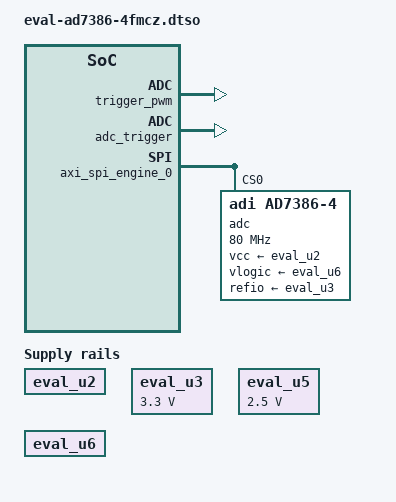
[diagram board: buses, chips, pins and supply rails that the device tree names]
/dts-v1/;
/plugin/;

#include <dt-bindings/gpio/gpio.h>
#include <dt-bindings/interrupt-controller/irq.h>

&{/} {
	eval_u2: eval-board-u2-regulator {
		compatible = "regulator-fixed";
		regulator-name = "EVAL +3.3V supply (U2)";
		regulator-always-on;
	};

	eval_u3: eval-board-u3-regulator {
		compatible = "regulator-fixed";
		regulator-name = "EVAL +3.3V supply (U3)";
		regulator-min-microvolt = <3300000>;
		regulator-max-microvolt = <3300000>;
		regulator-always-on;
	};

	eval_u5: eval-board-u5-regulator {
		compatible = "regulator-fixed";
		regulator-name = "EVAL +2.5V supply (U5)";
		regulator-min-microvolt = <2500000>;
		regulator-max-microvolt = <2500000>;
		regulator-always-on;
	};

	eval_u6: eval-board-u6-regulator {
		compatible = "regulator-fixed";
		regulator-name = "EVAL +2.3V supply (U6)";
		regulator-always-on;
	};

	trigger_pwm: adc-pwm-trigger {
		compatible = "pwm-trigger";
		#trigger-source-cells = <0>;
		pwms = <&adc_trigger 0 10000 0>;
	};
};

&amba {
	#address-cells = <1>;
	#size-cells = <1>;
	interrupt-parent = <&intc>;

	adc_trigger: pwm@44b00000 {
		compatible = "adi,axi-pwmgen-2.00.a";
		reg = <0x44b00000 0x1000>;
		#pwm-cells = <3>;
		clocks = <&clkc 15>, <&spi_clk>;
		clock-names = "axi", "ext";
	};

	spi_clk: clock-controller@44a70000 {
		compatible = "adi,axi-clkgen-2.00.a";
		reg = <0x44a70000 0x1000>;
		#clock-cells = <0>;
		clocks = <&clkc 15>, <&clkc 15>;
		clock-names = "clkin1", "s_axi_aclk";
		clock-output-names = "spi_clk";
		assigned-clocks = <&spi_clk>;
		assigned-clock-rates = <160000000>;
	};

	rx_dma: dma-controller@44a30000 {
		compatible = "adi,axi-dmac-1.00.a";
		reg = <0x44a30000 0x1000>;
		#dma-cells = <1>;
		interrupts = <0 57 IRQ_TYPE_LEVEL_HIGH>;
		clocks = <&clkc 15>;
	};

	axi_spi_engine_0: spi@44a00000 {
		compatible = "adi,axi-spi-engine-1.00.a";
		reg = <0x44a00000 0x1000>;
		interrupts = <0 56 IRQ_TYPE_LEVEL_HIGH>;
		clocks = <&clkc 15>, <&spi_clk>;
		clock-names = "s_axi_aclk", "spi_clk";

		dmas = <&rx_dma 0>;
		dma-names = "offload0-rx";
		trigger-sources = <&trigger_pwm>;

		#address-cells = <1>;
		#size-cells = <0>;

		adc@0 {
			compatible = "adi,ad7386-4";
			reg = <0>;

			spi-cpol;
			spi-max-frequency = <80000000>;
			spi-buses = <0>, <1>, <2>, <3>;

			vcc-supply = <&eval_u2>;
			vlogic-supply = <&eval_u6>;
			refio-supply = <&eval_u3>;
		};
	};
};
